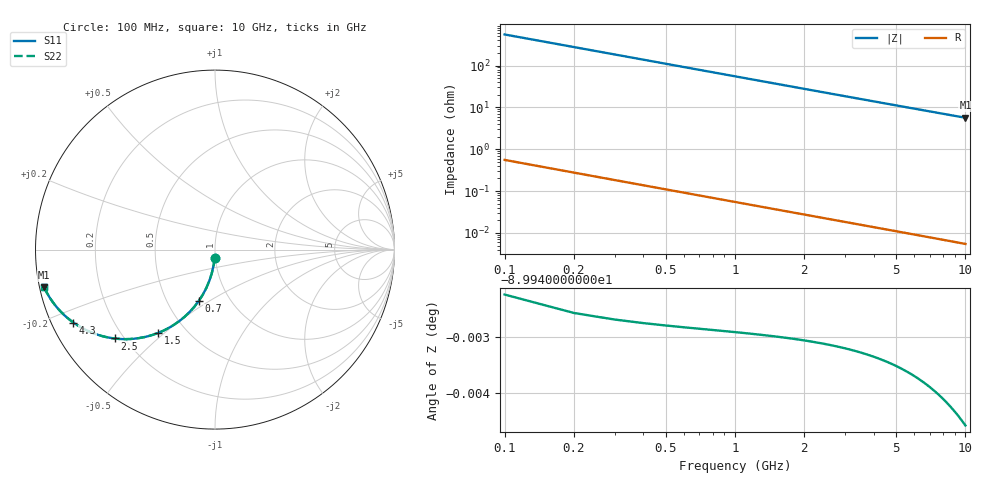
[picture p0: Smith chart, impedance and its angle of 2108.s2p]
# Hz S RI R 50.00
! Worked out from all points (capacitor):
!   100 points, 100 MHz to 10 GHz, reference 50 ohm
!   read as one part in shunt: C = 2.89 pF near 100 MHz
!   lowest |Z| = 5.65 ohm at 10 GHz (marker M1)
!   S11 on the Smith chart (normalised r, x): 100 MHz: 0.99, -0.09; 700 MHz: 0.71, -0.45; 1.5 GHz: 0.35, -0.48; 2.5 GHz: 0.16, -0.37; 4.3 GHz: 0.06, -0.24; 10 GHz: 0.01, -0.11
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1e8  -0.00209 -0.0452  0.9979 -0.0453  0.9979 -0.0453  -0.00209 -0.0452
2e8  -0.00823 -0.0898  0.9918 -0.09  0.9918 -0.09  -0.00823 -0.0898
3e8  -0.0183 -0.1334  0.9817 -0.1336  0.9817 -0.1336  -0.0183 -0.1334
4e8  -0.032 -0.1753  0.968 -0.1756  0.968 -0.1756  -0.032 -0.1753
5e8  -0.049 -0.2153  0.951 -0.2155  0.951 -0.2155  -0.049 -0.2153
6e8  -0.069 -0.2528  0.931 -0.2532  0.931 -0.2532  -0.069 -0.2528
7e8  -0.0916 -0.2877  0.9084 -0.2881  0.9084 -0.2881  -0.0916 -0.2877
9e8  -0.1427 -0.349  0.8573 -0.3495  0.8573 -0.3495  -0.1427 -0.349
1.1e9  -0.1989 -0.3983  0.8011 -0.399  0.8011 -0.399  -0.1989 -0.3983
1.3e9  -0.2572 -0.4362  0.7428 -0.437  0.7428 -0.437  -0.2572 -0.4362
1.5e9  -0.3153 -0.4637  0.6847 -0.4646  0.6847 -0.4646  -0.3153 -0.4637
1.8e9  -0.3983 -0.4885  0.6017 -0.4896  0.6017 -0.4896  -0.3983 -0.4885
2.1e9  -0.4736 -0.4982  0.5264 -0.4994  0.5264 -0.4994  -0.4736 -0.4982
2.5e9  -0.5599 -0.4952  0.4401 -0.4966  0.4401 -0.4966  -0.5599 -0.4952
2.9e9  -0.6308 -0.4813  0.3692 -0.4829  0.3692 -0.4829  -0.6308 -0.4813
3.4e9  -0.7009 -0.4564  0.2991 -0.4583  0.2991 -0.4583  -0.7009 -0.4564
3.8e9  -0.745 -0.4343  0.255 -0.4364  0.255 -0.4364  -0.745 -0.4343
4.3e9  -0.7888 -0.4064  0.2112 -0.4089  0.2112 -0.4089  -0.7888 -0.4064
5.1e9  -0.8397 -0.3649  0.1603 -0.3678  0.1603 -0.3678  -0.8397 -0.3649
6.7e9  -0.9001 -0.2975  0.0999 -0.3014  0.0999 -0.3014  -0.9001 -0.2975
8.4e9  -0.9339 -0.2455  0.0661 -0.2505  0.0661 -0.2505  -0.9339 -0.2455
1e10  -0.9524 -0.2095  0.0476 -0.2154  0.0476 -0.2154  -0.9524 -0.2095
